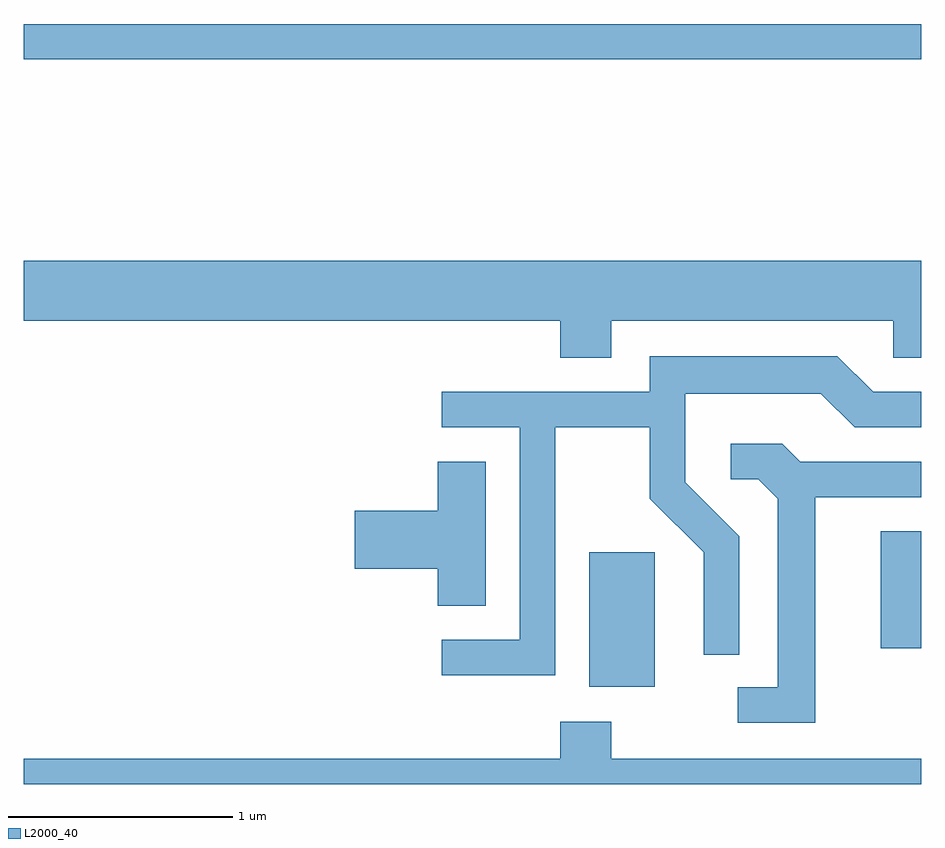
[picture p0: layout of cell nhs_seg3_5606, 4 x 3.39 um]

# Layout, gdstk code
import gdstk
lib = gdstk.Library(unit=1e-6, precision=1e-09)
def R(c, l, rs):  # rectangles x0, y0, x1, y1
    for r in rs: c.add(gdstk.rectangle(r[:2], r[2:], *l))
def P(c, l, *ps):  # polygons
    for p in ps: c.add(gdstk.Polygon(p, *l))
L2000_40 = (2000, 40)

nhs_seg3_5606 = lib.new_cell('nhs_seg3_5606')
R(nhs_seg3_5606, L2000_40, [(352.131,1184.326,352.424,1184.924), (353.431,1184.496,353.611,1185.019), (349.611,1187.121,353.611,1187.279)])
P(nhs_seg3_5606, L2000_40, [(352.229,1185.956),(353.486,1185.956),(353.486,1185.791),(353.611,1185.791),(353.611,1186.224),(349.611,1186.224),(349.611,1185.956),(352.001,1185.956),(352.001,1185.791),(352.229,1185.791)],
  [(351.979,1185.481),(352.401,1185.481),(352.401,1185.164),(352.641,1184.924),(352.641,1184.468),(352.799,1184.468),(352.799,1184.997),(352.559,1185.237),(352.559,1185.631),(353.164,1185.631),(353.314,1185.481),(353.611,1185.481),(353.611,1185.639),(353.397,1185.639),(353.237,1185.799),(352.401,1185.799),(352.401,1185.639),(351.473,1185.639),(351.473,1185.481),(351.821,1185.481),(351.821,1184.534),(351.473,1184.534),(351.473,1184.376),(351.979,1184.376)],
  [(353.139,1185.171),(353.611,1185.171),(353.611,1185.329),(353.072,1185.329),(352.992,1185.409),(352.763,1185.409),(352.763,1185.251),(352.884,1185.251),(352.971,1185.164),(352.971,1184.324),(352.793,1184.324),(352.793,1184.166),(353.139,1184.166)],
  [(351.669,1185.329),(351.456,1185.329),(351.456,1185.109),(351.086,1185.109),(351.086,1184.851),(351.456,1184.851),(351.456,1184.686),(351.669,1184.686)],
  [(353.611,1184.004),(352.229,1184.004),(352.229,1184.169),(352.001,1184.169),(352.001,1184.004),(349.611,1184.004),(349.611,1183.892),(353.611,1183.892)])

lib.write_gds('nhs_seg3_5606.gds')
